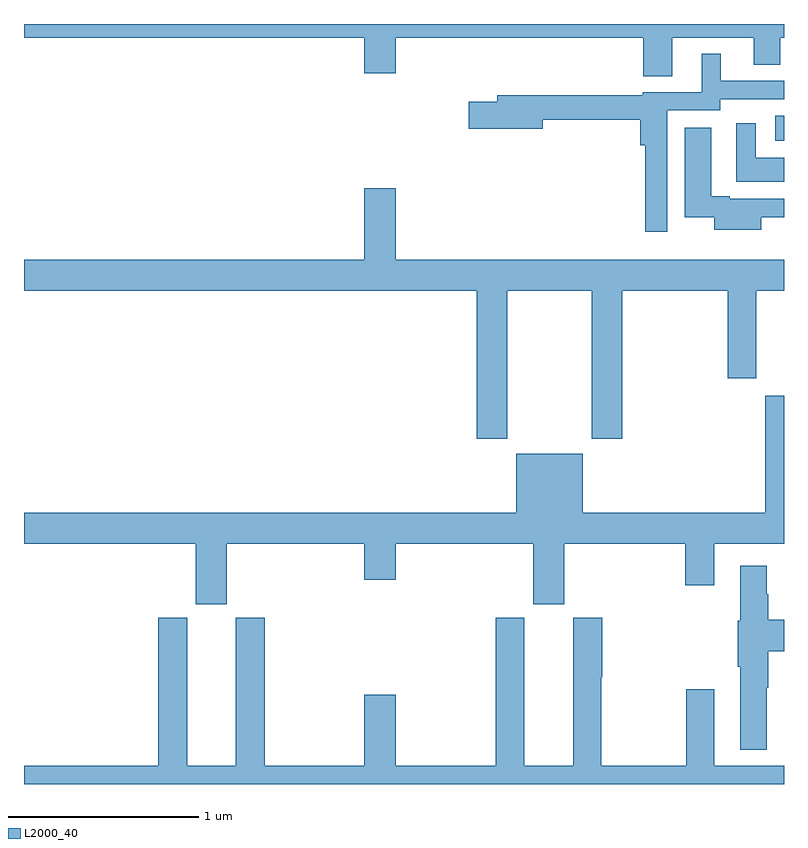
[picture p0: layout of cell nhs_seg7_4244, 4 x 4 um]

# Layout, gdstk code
import gdstk
lib = gdstk.Library(unit=1e-6, precision=1e-09)
def R(c, l, rs):  # rectangles x0, y0, x1, y1
    for r in rs: c.add(gdstk.rectangle(r[:2], r[2:], *l))
def P(c, l, *ps):  # polygons
    for p in ps: c.add(gdstk.Polygon(p, *l))
L2000_40 = (2000, 40)

nhs_seg7_4244 = lib.new_cell('nhs_seg7_4244')
R(nhs_seg7_4244, L2000_40, [(382.953,1021.385,383,1021.516)])
P(nhs_seg7_4244, L2000_40, [(382.411,1021.928),(382.841,1021.928),(382.841,1021.786),(382.981,1021.786),(382.981,1021.928),(383,1021.928),(383,1022),(379,1022),(379,1021.928),(380.792,1021.928),(380.792,1021.74),(380.956,1021.74),(380.956,1021.928),(382.259,1021.928),(382.259,1021.726),(382.411,1021.726)],
  [(382.386,1021.545),(382.665,1021.545),(382.665,1021.605),(383,1021.605),(383,1021.701),(382.666,1021.701),(382.666,1021.843),(382.568,1021.843),(382.568,1021.641),(382.256,1021.641),(382.256,1021.624),(381.491,1021.624),(381.491,1021.59),(381.342,1021.59),(381.342,1021.448),(381.73,1021.448),(381.73,1021.495),(382.244,1021.495),(382.244,1021.361),(382.27,1021.361),(382.27,1020.906),(382.386,1020.906)],
  [(383,1021.297),(382.852,1021.297),(382.852,1021.477),(382.748,1021.477),(382.748,1021.169),(383,1021.169)],
  [(382.879,1020.984),(383,1020.984),(383,1021.08),(382.714,1021.08),(382.714,1021.093),(382.618,1021.093),(382.618,1021.453),(382.478,1021.453),(382.478,1020.982),(382.634,1020.982),(382.634,1020.917),(382.879,1020.917)],
  [(381.543,1020.596),(381.988,1020.596),(381.988,1019.817),(382.148,1019.817),(382.148,1020.596),(382.703,1020.596),(382.703,1020.135),(382.855,1020.135),(382.855,1020.596),(383,1020.596),(383,1020.76),(380.956,1020.76),(380.956,1021.135),(380.792,1021.135),(380.792,1020.76),(379,1020.76),(379,1020.596),(381.383,1020.596),(381.383,1019.817),(381.543,1019.817)],
  [(381.68,1018.947),(381.844,1018.947),(381.844,1019.264),(382.481,1019.264),(382.481,1019.046),(382.633,1019.046),(382.633,1019.264),(383,1019.264),(383,1020.043),(382.901,1020.043),(382.901,1019.428),(381.94,1019.428),(381.94,1019.737),(381.59,1019.737),(381.59,1019.428),(379,1019.428),(379,1019.264),(379.904,1019.264),(379.904,1018.947),(380.068,1018.947),(380.068,1019.264),(380.792,1019.264),(380.792,1019.076),(380.956,1019.076),(380.956,1019.264),(381.68,1019.264)],
  [(382.909,1018.507),(382.917,1018.507),(382.917,1018.7),(383,1018.7),(383,1018.864),(382.917,1018.864),(382.917,1018.998),(382.909,1018.998),(382.909,1019.149),(382.769,1019.149),(382.769,1018.86),(382.757,1018.86),(382.757,1018.616),(382.769,1018.616),(382.769,1018.181),(382.909,1018.181)],
  [(383,1018.096),(382.633,1018.096),(382.633,1018.498),(382.486,1018.498),(382.486,1018.096),(382.038,1018.096),(382.038,1018.563),(382.043,1018.563),(382.043,1018.875),(381.89,1018.875),(381.89,1018.096),(381.634,1018.096),(381.634,1018.875),(381.482,1018.875),(381.482,1018.096),(380.956,1018.096),(380.956,1018.471),(380.792,1018.471),(380.792,1018.096),(380.267,1018.096),(380.267,1018.875),(380.114,1018.875),(380.114,1018.096),(379.858,1018.096),(379.858,1018.875),(379.706,1018.875),(379.706,1018.096),(379,1018.096),(379,1018),(383,1018)])

lib.write_gds('nhs_seg7_4244.gds')
